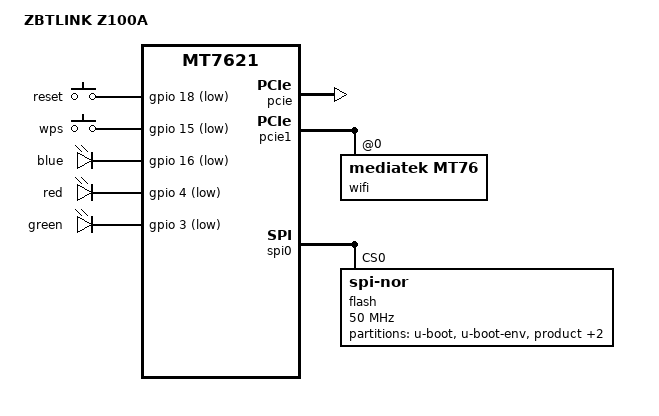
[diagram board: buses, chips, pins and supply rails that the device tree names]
// SPDX-License-Identifier: GPL-2.0-or-later OR MIT

#include "mt7621.dtsi"

#include <dt-bindings/gpio/gpio.h>
#include <dt-bindings/input/input.h>

/ {
	compatible = "zbtlink,zbt-z100a", "mediatek,mt7621-soc";
	model = "ZBTLINK Z100A";





	aliases {
		label-mac-device = &gmac0;
	};

	chosen {
		bootargs = "console=ttyS0,115200";
		bootargs-override = "console=ttyS0,115200";
	};

	
 keys {
                compatible = "gpio-keys";

                reset {
                        label = "reset";
                        gpios = <&gpio 18 GPIO_ACTIVE_LOW>;
                        linux,code = <KEY_RESTART>;
                };

                wps {
                        label = "wps";
                        gpios = <&gpio 15 GPIO_ACTIVE_LOW>;
                        linux,code = <KEY_WPS_BUTTON>;
                };
        };

        leds {
                compatible = "gpio-leds";

                blue {
                        label = "blue";
                        gpios = <&gpio 16 GPIO_ACTIVE_LOW>;
                };
                red {
                        label = "red";
                        gpios = <&gpio 4 GPIO_ACTIVE_LOW>;
                };
                green {
                        label = "green";
                        gpios = <&gpio 3 GPIO_ACTIVE_LOW>;
                };
                
                
             
             
             
             
                
        };

	
};

&pcie {
	status = "okay";
};



&pcie1 {
	wifi@0,0 {
		compatible = "mediatek,mt76";
		reg = <0x0000 0 0 0 0>;
		mediatek,mtd-eeprom = <&factory 0x0000>;
		mtd-mac-address = <&factory 0x4>;
		nvmem-cells = <&macaddr_factory_4>;
		nvmem-cell-names = "mac-address";
				
	};
};


&gmac0 {
	nvmem-cells = <&macaddr_factory_4>;
	nvmem-cell-names = "mac-address";
	mac-address-increment = <(2)>;
};




&switch0 {
	ports {
		
		port@1 {
			status = "okay";
			label = "lan1";
		};

		port@2 {
			status = "okay";
			label = "lan2";
		};

		port@3 {
			status = "okay";
			label = "lan3";
		};

		wan_port: port@4 {
			status = "okay";
			label = "wan";
			nvmem-cells = <&macaddr_factory_4>;
			nvmem-cell-names = "mac-address";
			mac-address-increment = <(3)>;
		};

	};
};

&state_default {
	gpio {
		groups = "uart3";
		function = "gpio";
	};
};

&spi0 {
	status = "okay";

	flash@0 {
		compatible = "jedec,spi-nor";
		reg = <0>;
		spi-max-frequency = <50000000>;

		partitions {
			compatible = "fixed-partitions";
			#address-cells = <1>;
			#size-cells = <1>;

			partition@0 {
				label = "u-boot";
				reg = <0x0 0x30000>;
				read-only;
			};

			partition@30000 {
				label = "u-boot-env";
				reg = <0x30000 0x10000>;
				read-only;
			};

			partition@40000 {
				label = "product";
				reg = <0x40000 0x10000>;
				read-only;
			};

			factory: partition@50000 {
				label = "factory";
				reg = <0x50000 0x40000>;
				read-only;
			};

			partition@90000 {
				compatible = "denx,fit";
				label = "firmware";
				reg = <0x90000 0x0f70000>;
			};
		};
	};
};

&factory {
	compatible = "nvmem-cells";
	#address-cells = <1>;
	#size-cells = <1>;

	macaddr_factory_4: macaddr@4 {
		reg = <0x4 0x6>;
	};
};
